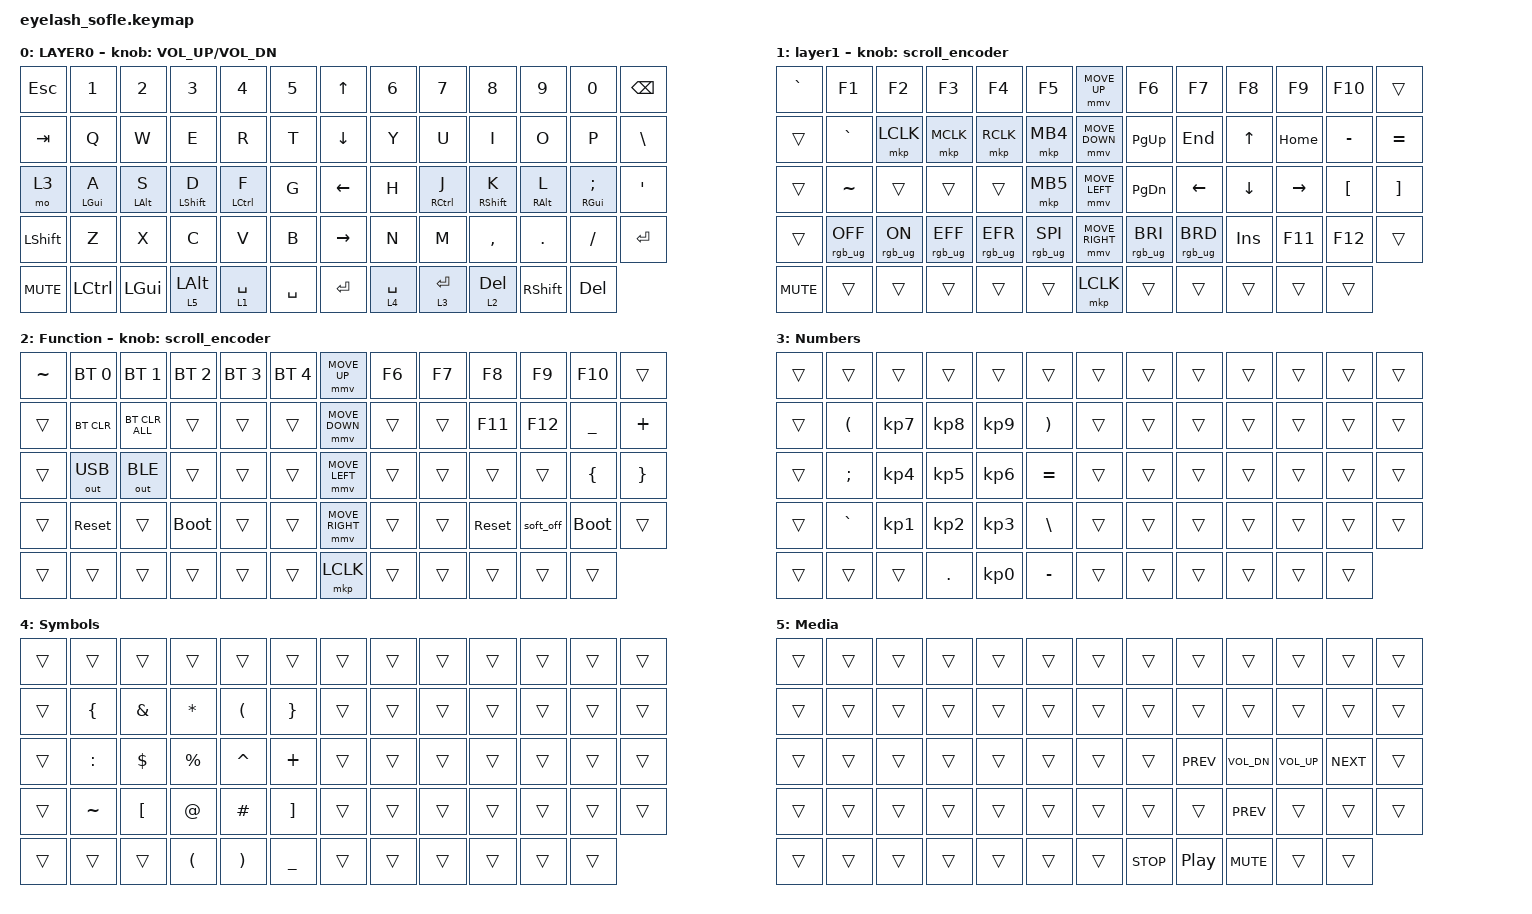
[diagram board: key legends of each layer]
#define ZMK_POINTING_DEFAULT_MOVE_VAL 1200  // 600
#define ZMK_POINTING_DEFAULT_SCRL_VAL 25   // 10

#include <input/processors.dtsi>
#include <zephyr/dt-bindings/input/input-event-codes.h>
#include "zmk-helpers/helper.h"

// add support for the french layout

#include "keymap_french.h"
#include "french_unicode.dtsi"
#include <behaviors.dtsi>
#include <dt-bindings/zmk/bt.h>
#include <dt-bindings/zmk/keys.h>
#include <dt-bindings/zmk/outputs.h>
#include <dt-bindings/zmk/pointing.h>
#include <dt-bindings/zmk/rgb.h>

&mmv_input_listener { input-processors = <&zip_xy_scaler 2 1>; };

&msc_input_listener { input-processors = <&zip_scroll_scaler 2 1>; };

&msc {
    acceleration-exponent = <1>;      // 0
    time-to-max-speed-ms = <100>;       // 300
    delay-ms = <0>;                   // 0
};

&mmv {
    time-to-max-speed-ms = <500>;
    acceleration-exponent = <1>;
    trigger-period-ms = <16>;
};

/* Custom Defined Behaviors */

/ {
    behaviors {
        scroll_encoder: scroll_encoder {
            compatible = "zmk,behavior-sensor-rotate";
            #sensor-binding-cells = <0>;
            bindings = <&msc SCRL_DOWN>, <&msc SCRL_UP>;

            tap-ms = <100>;
        };

        hrml: home_row_mod_left {
            compatible = "zmk,behavior-hold-tap";
            label = "Home Row Mod Left";
            bindings = <&kp>, <&kp>;

            #binding-cells = <2>;
            tapping-term-ms = <150>;
            quick-tap-ms = <200>;
            flavor = "tap-preferred";
            hold-trigger-key-positions = <27 28 29 30>;
        };

        hmrr: home_row_mod_right {
            compatible = "zmk,behavior-hold-tap";
            label = "Home Row Mod Right";
            bindings = <&kp>, <&kp>;

            #binding-cells = <2>;
            tapping-term-ms = <150>;
            quick-tap-ms = <200>;
            flavor = "tap-preferred";
            hold-trigger-key-positions = <34 35 36 37>;
        };

        hmShiftLeft: hmShiftLeft {
            compatible = "zmk,behavior-hold-tap";
            label = "Home Row Mod - Shift Left";
            bindings = <&kp>, <&kp>;

            #binding-cells = <2>;
            hold-trigger-key-positions = <7 8 9 10 11 12 20 21 22 23 24 25 33 34 35 36 37 38 46 47 48 49 50 51 59 60 61 62 63>;
            tapping-term-ms = <200>;
            hold-while-undecided;
            hold-trigger-on-release;
        };

        hmShiftRight: hmShiftRight {
            compatible = "zmk,behavior-hold-tap";
            label = "Home Row Mod - Shift Right";
            bindings = <&kp>, <&kp>;

            #binding-cells = <2>;
            tapping-term-ms = <200>;
            hold-while-undecided;
            hold-trigger-on-release;
            hold-trigger-key-positions = <0 1 2 3 4 5 13 14 15 16 17 18 26 27 28 29 30 31 39 40 41 42 43 44 53 54 55 56 57>;
        };
    };

    keymap {
        compatible = "zmk,keymap";

        default {
            bindings = <
&kp ESC     &kp N1        &kp N2        &kp N3                 &kp N4         &kp N5       &kp UP_ARROW     &kp N6       &kp N7         &kp N8                  &kp N9             &kp N0                &kp BACKSPACE
&kp TAB     &kp Q         &kp W         &kp E                  &kp R          &kp T        &kp DOWN_ARROW   &kp Y        &kp U          &kp I                   &kp O              &kp P                 &kp BSLH
&mo 3       &hrml LGUI A  &hrml LALT S  &hmShiftLeft LSHIFT D  &hrml LCTRL F  &kp G        &kp LEFT_ARROW   &kp H        &hmrr RCTRL J  &hmShiftRight RSHIFT K  &hmrr RIGHT_ALT L  &hmrr RGUI SEMICOLON  &kp APOS
&kp LSHFT   &kp Z         &kp X         &kp C                  &kp V          &kp B        &kp RIGHT_ARROW  &kp N        &kp M          &kp COMMA               &kp DOT            &kp FSLH              &kp ENTER
&kp C_MUTE  &kp LCTRL     &kp LEFT_GUI  &lt 5 LEFT_ALT         &lt 1 SPACE    &kp SPACE    &kp ENTER        &lt 4 SPACE  &lt 3 ENTER    &lt 2 DEL               &kp RIGHT_SHIFT    &kp DELETE
            >;

            sensor-bindings = <&inc_dec_kp C_VOLUME_UP C_VOL_DN>;
            display-name = "LAYER0";
            label = "Default";
        };

        nav {
            bindings = <
&kp GRAVE   &kp F1           &kp F2          &kp F3           &kp F4           &kp F5             &mmv MOVE_UP     &kp F6           &kp F7           &kp F8      &kp F9     &kp F10           &trans
&trans      &kp GRAVE        &mkp LCLK       &mkp MCLK        &mkp RCLK        &mkp MB4           &mmv MOVE_DOWN   &kp PG_UP        &kp END          &kp UP      &kp HOME   &kp MINUS         &kp EQUAL
&trans      &kp TILDE        &trans          &trans           &trans           &mkp MB5           &mmv MOVE_LEFT   &kp PG_DN        &kp LEFT         &kp DOWN    &kp RIGHT  &kp LEFT_BRACKET  &kp RIGHT_BRACKET
&trans      &rgb_ug RGB_OFF  &rgb_ug RGB_ON  &rgb_ug RGB_EFF  &rgb_ug RGB_EFR  &rgb_ug RGB_SPI    &mmv MOVE_RIGHT  &rgb_ug RGB_BRI  &rgb_ug RGB_BRD  &kp INSERT  &kp F11    &kp F12           &trans
&kp C_MUTE  &trans           &trans          &trans           &trans           &trans             &mkp LCLK        &trans           &trans           &trans      &trans     &trans
            >;

            display-name = "layer1";
            sensor-bindings = <&scroll_encoder>;
            label = "Navigation";
        };

        func {
            bindings = <
&kp TILDE  &bt BT_SEL 0  &bt BT_SEL 1    &bt BT_SEL 2  &bt BT_SEL 3  &bt BT_SEL 4    &mmv MOVE_UP     &kp F6  &kp F7  &kp F8      &kp F9     &kp F10      &trans
&trans     &bt BT_CLR    &bt BT_CLR_ALL  &trans        &trans        &trans          &mmv MOVE_DOWN   &trans  &trans  &kp F11     &kp F12    &kp UNDER    &kp PLUS
&trans     &out OUT_USB  &out OUT_BLE    &trans        &trans        &trans          &mmv MOVE_LEFT   &trans  &trans  &trans      &trans     &kp LBRC     &kp RBRC
&trans     &sys_reset    &trans          &bootloader   &trans        &trans          &mmv MOVE_RIGHT  &trans  &trans  &sys_reset  &soft_off  &bootloader  &trans
&trans     &trans        &trans          &trans        &trans        &trans          &mkp LCLK        &trans  &trans  &trans      &trans     &trans
            >;

            sensor-bindings = <&scroll_encoder>;
            label = "Function";
        };

        num {
            bindings = <
&trans  &trans         &trans           &trans           &trans           &trans       &trans  &trans  &trans  &trans  &trans  &trans  &trans
&trans  &kp LPAR       &kp KP_NUMBER_7  &kp KP_NUMBER_8  &kp KP_NUMBER_9  &kp RPAR     &trans  &trans  &trans  &trans  &trans  &trans  &trans
&trans  &kp SEMICOLON  &kp KP_NUMBER_4  &kp KP_NUMBER_5  &kp KP_NUMBER_6  &kp EQUAL    &trans  &trans  &trans  &trans  &trans  &trans  &trans
&trans  &kp GRAVE      &kp KP_NUMBER_1  &kp KP_NUMBER_2  &kp KP_NUMBER_3  &kp BSLH     &trans  &trans  &trans  &trans  &trans  &trans  &trans
&trans  &trans         &trans           &kp DOT          &kp KP_NUMBER_0  &kp MINUS    &trans  &trans  &trans  &trans  &trans  &trans
            >;

            label = "Numbers";
        };

        sym {
            bindings = <
&trans  &trans          &trans            &trans                &trans                 &trans               &trans  &trans  &trans  &trans  &trans  &trans  &trans
&trans  &kp LEFT_BRACE  &kp AMPERSAND     &kp STAR              &kp LEFT_PARENTHESIS   &kp RIGHT_BRACE      &trans  &trans  &trans  &trans  &trans  &trans  &trans
&trans  &kp COLON       &kp DOLLAR        &kp PERCENT           &kp CARET              &kp PLUS             &trans  &trans  &trans  &trans  &trans  &trans  &trans
&trans  &kp TILDE       &kp LEFT_BRACKET  &kp AT                &kp HASH               &kp RIGHT_BRACKET    &trans  &trans  &trans  &trans  &trans  &trans  &trans
&trans  &trans          &trans            &kp LEFT_PARENTHESIS  &kp RIGHT_PARENTHESIS  &kp UNDER            &trans  &trans  &trans  &trans  &trans  &trans
            >;

            label = "Symbols";
        };

        media {
            bindings = <
&trans  &trans  &trans  &trans  &trans  &trans    &trans  &trans      &trans            &trans        &trans        &trans      &trans
&trans  &trans  &trans  &trans  &trans  &trans    &trans  &trans      &trans            &trans        &trans        &trans      &trans
&trans  &trans  &trans  &trans  &trans  &trans    &trans  &trans      &kp C_PREV        &kp C_VOL_DN  &kp C_VOL_UP  &kp C_NEXT  &trans
&trans  &trans  &trans  &trans  &trans  &trans    &trans  &trans      &trans            &kp C_PREV    &trans        &trans      &trans
&trans  &trans  &trans  &trans  &trans  &trans    &trans  &kp C_STOP  &kp C_PLAY_PAUSE  &kp C_MUTE    &trans        &trans
            >;

            label = "Media";
        };
    };
};
